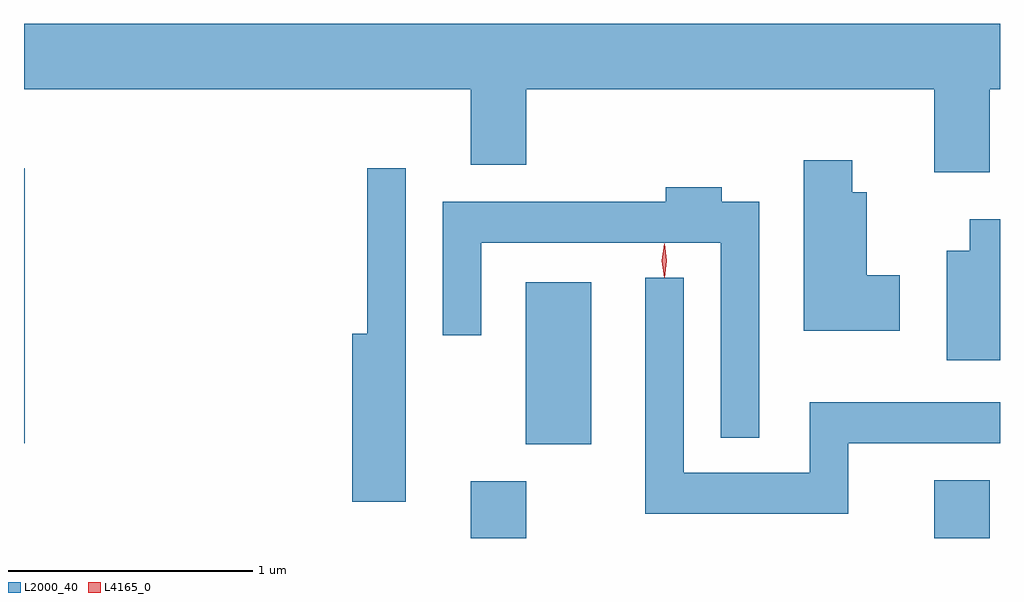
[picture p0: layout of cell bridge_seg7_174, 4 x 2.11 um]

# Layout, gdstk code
import gdstk
lib = gdstk.Library(unit=1e-6, precision=1e-09)
def R(c, l, rs):  # rectangles x0, y0, x1, y1
    for r in rs: c.add(gdstk.rectangle(r[:2], r[2:], *l))
def P(c, l, *ps):  # polygons
    for p in ps: c.add(gdstk.Polygon(p, *l))
L2000_40 = (2000, 40)
L4165_0 = (4165, 0)

bridge_seg7_174 = lib.new_cell('bridge_seg7_174')
R(bridge_seg7_174, L2000_40, [(1500.791,1701.376,1501.019,1701.609), (1502.691,1701.376,1502.919,1701.614), (1501.016,1701.761,1501.284,1702.424), (1498.96,1701.766,1498.964,1702.893)])
P(bridge_seg7_174, L2000_40, [(1502.919,1703.216),(1502.96,1703.216),(1502.96,1703.484),(1498.96,1703.484),(1498.96,1703.216),(1500.791,1703.216),(1500.791,1702.906),(1501.019,1702.906),(1501.019,1703.216),(1502.691,1703.216),(1502.691,1702.876),(1502.919,1702.876)],
  [(1502.549,1702.454),(1502.414,1702.454),(1502.414,1702.794),(1502.354,1702.794),(1502.354,1702.924),(1502.156,1702.924),(1502.156,1702.226),(1502.549,1702.226)],
  [(1500.524,1702.893),(1500.366,1702.893),(1500.366,1702.214),(1500.306,1702.214),(1500.306,1701.526),(1500.524,1701.526)],
  [(1501.974,1702.754),(1501.819,1702.754),(1501.819,1702.814),(1501.591,1702.814),(1501.591,1702.754),(1500.676,1702.754),(1500.676,1702.208),(1500.834,1702.208),(1500.834,1702.586),(1501.816,1702.586),(1501.816,1701.788),(1501.974,1701.788)],
  [(1502.96,1702.684),(1502.836,1702.684),(1502.836,1702.554),(1502.741,1702.554),(1502.741,1702.106),(1502.96,1702.106)],
  [(1502.339,1701.766),(1502.96,1701.766),(1502.96,1701.934),(1502.181,1701.934),(1502.181,1701.644),(1501.664,1701.644),(1501.664,1702.443),(1501.506,1702.443),(1501.506,1701.476),(1502.339,1701.476)])
P(bridge_seg7_174, L4165_0, [(1501.584,1702.444),(1501.584,1702.444),(1501.574,1702.513),(1501.584,1702.582),(1501.584,1702.583),(1501.585,1702.582),(1501.594,1702.513),(1501.585,1702.444)],
  [(1501.585,1702.447),(1501.585,1702.447),(1501.575,1702.514),(1501.585,1702.58),(1501.586,1702.58),(1501.586,1702.58),(1501.595,1702.514),(1501.586,1702.447)])

lib.write_gds('bridge_seg7_174.gds')
